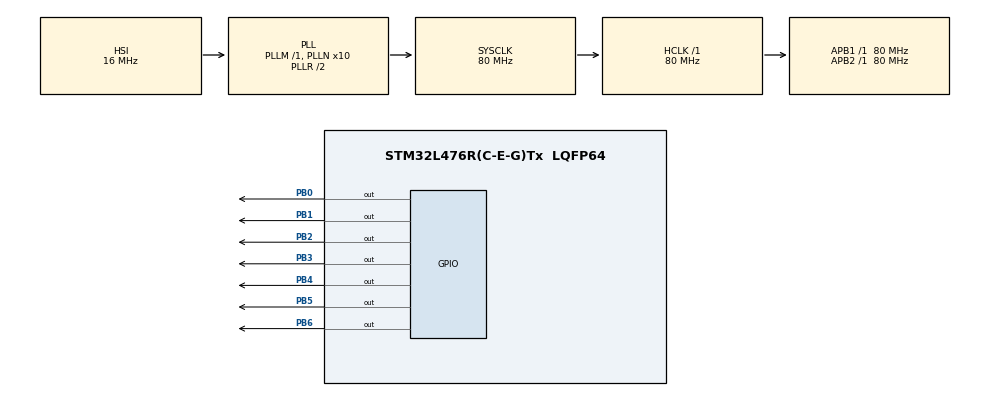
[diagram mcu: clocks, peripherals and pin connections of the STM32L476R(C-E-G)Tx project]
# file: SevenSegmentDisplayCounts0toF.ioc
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Mcu.Family=STM32L4
Mcu.Name=STM32L476R(C-E-G)Tx
Mcu.Package=LQFP64
NVIC.PriorityGroup=NVIC_PRIORITYGROUP_4
PB0.Signal=GPIO_Output
PB1.Signal=GPIO_Output
PB2.Signal=GPIO_Output
PB3\ (JTDO-TRACESWO).Signal=GPIO_Output
PB4\ (NJTRST).Signal=GPIO_Output
PB5.Signal=GPIO_Output
PB6.Signal=GPIO_Output
ProjectManager.HeapSize=0x200
ProjectManager.StackSize=0x400
ProjectManager.TargetToolchain=STM32CubeIDE
RCC.ADCFreq_Value=64000000
RCC.AHBFreq_Value=80000000
RCC.APB1Freq_Value=80000000
RCC.APB1TimFreq_Value=80000000
RCC.APB2Freq_Value=80000000
RCC.APB2TimFreq_Value=80000000
RCC.CortexFreq_Value=80000000
RCC.HCLKFreq_Value=80000000
RCC.HSE_VALUE=8000000
RCC.HSI_VALUE=16000000
RCC.MSI_VALUE=4000000
RCC.PLLN=10
RCC.PLLSourceVirtual=RCC_PLLSOURCE_HSI
RCC.PREFETCH_ENABLE=1
RCC.SYSCLKFreq_VALUE=80000000
RCC.SYSCLKSource=RCC_SYSCLKSOURCE_PLLCLK
RCC.USBFreq_Value=64000000
RCC.VCOOutputFreq_Value=160000000
board=NUCLEO-L476RG

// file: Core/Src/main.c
/* USER CODE BEGIN Header */
/**
  ******************************************************************************
  * @file           : main.c
  * @brief          : Main program body
  ******************************************************************************
  * @attention
  *
  * Copyright (c) 2025 STMicroelectronics.
  * All rights reserved.
  *
  * This software is licensed under terms that can be found in the LICENSE file
  * in the root directory of this software component.
  * If no LICENSE file comes with this software, it is provided AS-IS.
  *
  ******************************************************************************
  */
/* USER CODE END Header */
#include "main.h"

/* USER CODE BEGIN PD */
int LEDs[] = {0x3F,  /* 0 */
              0x06,  /* 1 */
              0x5B,  /* 2 */
              0x4F,  /* 3 */
		      0x66,  /* 4 */
              0x6D,  /* 5 */
              0x7D,  /* 6 */
              0x27,  /* 7 */
              0x7F,  /* 8 */
              0x67,  /* 9 */
              0x5F,  /* a */
			  0x7C,  /* b */
              0x58,  /* c */
              0x5E,  /* d */
              0x7B,  /* e */
              0x71}; /* f */
/* USER CODE END PD */

void SystemClock_Config(void);
static void MX_GPIO_Init(void);

int main(void)
{

  /* USER CODE BEGIN 1 */
  int Count = 0;  // Initialize Count
  /* USER CODE END 1 */

  /* MCU Configuration--------------------------------------------------------*/

  /* Reset of all peripherals, Initializes the Flash interface and the Systick. */
  HAL_Init();

  /* Configure the system clock */
  SystemClock_Config();

  /* Initialize all configured peripherals */
  MX_GPIO_Init();

  /* Infinite loop */
  /* USER CODE BEGIN WHILE */
  while (1)
  {
	  GPIOB -> ODR = LEDs[Count];  // Send bits to display
	  Count++;                     // Increment Count
	  if(Count == 16) Count = 0;   // If Count = 16, reset = 0
	  HAL_Delay(1000);             // Wait 1 second
    /* USER CODE END WHILE */

  }
}

void SystemClock_Config(void)
{
  RCC_OscInitTypeDef RCC_OscInitStruct = {0};
  RCC_ClkInitTypeDef RCC_ClkInitStruct = {0};

  /** Configure the main internal regulator output voltage
  */
  if (HAL_PWREx_ControlVoltageScaling(PWR_REGULATOR_VOLTAGE_SCALE1) != HAL_OK)
  {
    Error_Handler();
  }

  /** Initializes the RCC Oscillators according to the specified parameters
  * in the RCC_OscInitTypeDef structure.
  */
  RCC_OscInitStruct.OscillatorType = RCC_OSCILLATORTYPE_HSI;
  RCC_OscInitStruct.HSIState = RCC_HSI_ON;
  RCC_OscInitStruct.HSICalibrationValue = RCC_HSICALIBRATION_DEFAULT;
  RCC_OscInitStruct.PLL.PLLState = RCC_PLL_ON;
  RCC_OscInitStruct.PLL.PLLSource = RCC_PLLSOURCE_HSI;
  RCC_OscInitStruct.PLL.PLLM = 1;
  RCC_OscInitStruct.PLL.PLLN = 10;
  RCC_OscInitStruct.PLL.PLLP = RCC_PLLP_DIV7;
  RCC_OscInitStruct.PLL.PLLQ = RCC_PLLQ_DIV2;
  RCC_OscInitStruct.PLL.PLLR = RCC_PLLR_DIV2;
  if (HAL_RCC_OscConfig(&RCC_OscInitStruct) != HAL_OK)
  {
    Error_Handler();
  }

  /** Initializes the CPU, AHB and APB buses clocks
  */
  RCC_ClkInitStruct.ClockType = RCC_CLOCKTYPE_HCLK|RCC_CLOCKTYPE_SYSCLK
                              |RCC_CLOCKTYPE_PCLK1|RCC_CLOCKTYPE_PCLK2;
  RCC_ClkInitStruct.SYSCLKSource = RCC_SYSCLKSOURCE_PLLCLK;
  RCC_ClkInitStruct.AHBCLKDivider = RCC_SYSCLK_DIV1;
  RCC_ClkInitStruct.APB1CLKDivider = RCC_HCLK_DIV1;
  RCC_ClkInitStruct.APB2CLKDivider = RCC_HCLK_DIV1;

  if (HAL_RCC_ClockConfig(&RCC_ClkInitStruct, FLASH_LATENCY_4) != HAL_OK)
  {
    Error_Handler();
  }
}

static void MX_GPIO_Init(void)
{
  GPIO_InitTypeDef GPIO_InitStruct = {0};

  /* GPIO Ports Clock Enable */
  __HAL_RCC_GPIOB_CLK_ENABLE();

  /*Configure GPIO pin Output Level */
  HAL_GPIO_WritePin(GPIOB, GPIO_PIN_0|GPIO_PIN_1|GPIO_PIN_2|GPIO_PIN_3
                          |GPIO_PIN_4|GPIO_PIN_5|GPIO_PIN_6, GPIO_PIN_RESET);

  /*Configure GPIO pins : PB0 PB1 PB2 PB3
                           PB4 PB5 PB6 */
  GPIO_InitStruct.Pin = GPIO_PIN_0|GPIO_PIN_1|GPIO_PIN_2|GPIO_PIN_3
                          |GPIO_PIN_4|GPIO_PIN_5|GPIO_PIN_6;
  GPIO_InitStruct.Mode = GPIO_MODE_OUTPUT_PP;
  GPIO_InitStruct.Pull = GPIO_NOPULL;
  GPIO_InitStruct.Speed = GPIO_SPEED_FREQ_LOW;
  HAL_GPIO_Init(GPIOB, &GPIO_InitStruct);

}

void Error_Handler(void)
{
  __disable_irq();
  while (1)
  {
  }
}
